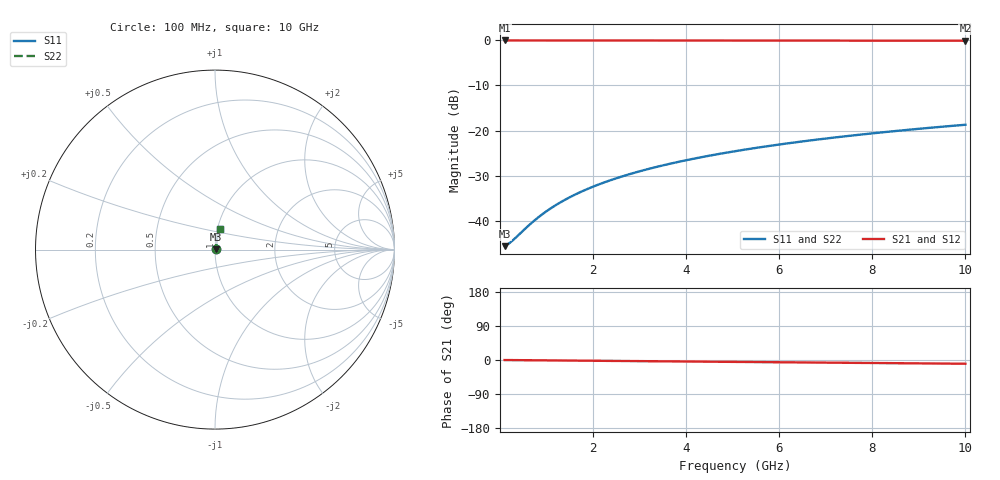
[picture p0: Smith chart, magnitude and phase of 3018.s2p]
# Hz S RI R 50.00
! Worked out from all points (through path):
!   100 points, 100 MHz to 10 GHz, reference 50 ohm
!   highest |S21| = -0.04 dB at 100 MHz (marker M1); lowest = -0.1 dB at 10 GHz (marker M2)
!   group delay of S21, straight-line fit = 2.74 ps
!   lowest |S11| = -45.5 dB at 100 MHz (marker M3), VSWR 1.01, Z = 50.5 + j0.117 ohm
!   |S11| at or under -10 dB: start of sweep to end of sweep
!   |S22| runs from -45.5 to -18.7 dB; largest |S21 - S12| = 0
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1e8  0.00516 0.00116  0.9948 -0.00172  0.9948 -0.00172  0.00516 0.00116
2e8  0.0052 0.00233  0.9948 -0.00344  0.9948 -0.00344  0.0052 0.00233
3e8  0.00523 0.00349  0.9948 -0.00515  0.9948 -0.00515  0.00523 0.00349
7e8  0.00538 0.00814  0.9946 -0.012  0.9946 -0.012  0.00538 0.00814
8e8  0.00542 0.0093  0.9946 -0.0137  0.9946 -0.0137  0.00542 0.0093
1e9  0.00551 0.0116  0.9945 -0.0172  0.9945 -0.0172  0.00551 0.0116
1.2e9  0.00562 0.0139  0.9943 -0.0206  0.9943 -0.0206  0.00562 0.0139
1.4e9  0.00574 0.0163  0.9942 -0.024  0.9942 -0.024  0.00574 0.0163
1.6e9  0.00588 0.0186  0.9941 -0.0275  0.9941 -0.0275  0.00588 0.0186
1.8e9  0.00603 0.0209  0.9939 -0.0309  0.9939 -0.0309  0.00603 0.0209
2.1e9  0.00629 0.0244  0.9936 -0.0361  0.9936 -0.0361  0.00629 0.0244
2.5e9  0.00668 0.029  0.9932 -0.0429  0.9932 -0.0429  0.00668 0.029
2.9e9  0.00713 0.0336  0.9927 -0.0498  0.9927 -0.0498  0.00713 0.0336
3.4e9  0.00779 0.0394  0.992 -0.0583  0.992 -0.0583  0.00779 0.0394
3.8e9  0.00839 0.044  0.9914 -0.0651  0.9914 -0.0651  0.00839 0.044
4.2e9  0.00904 0.0486  0.9907 -0.072  0.9907 -0.072  0.00904 0.0486
5.1e9  0.0108 0.0589  0.9888 -0.0873  0.9888 -0.0873  0.0108 0.0589
5.9e9  0.0125 0.068  0.9869 -0.1008  0.9869 -0.1008  0.0125 0.068
6.7e9  0.0146 0.077  0.9847 -0.1143  0.9847 -0.1143  0.0146 0.077
7.5e9  0.0168 0.086  0.9822 -0.1278  0.9822 -0.1278  0.0168 0.086
8.4e9  0.0197 0.096  0.9792 -0.1428  0.9792 -0.1428  0.0197 0.096
1e10  0.0255 0.1135  0.9729 -0.1692  0.9729 -0.1692  0.0255 0.1135
